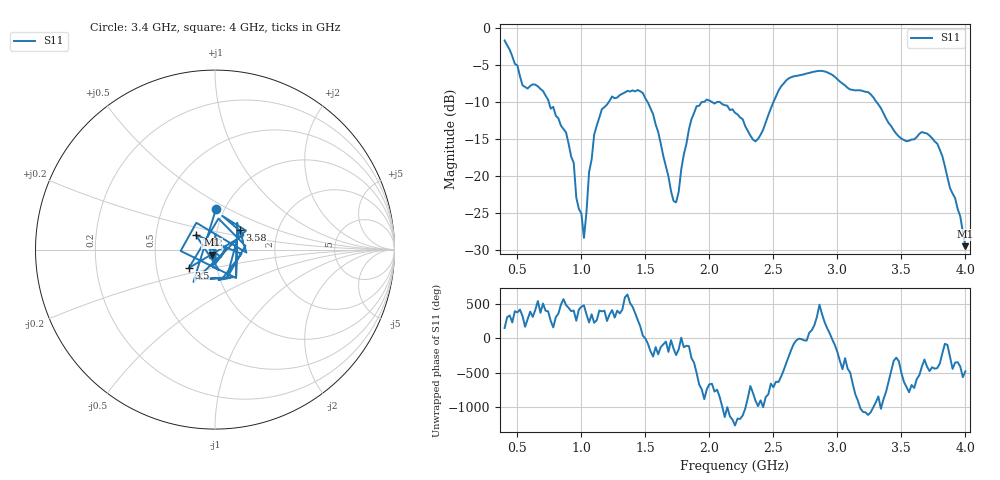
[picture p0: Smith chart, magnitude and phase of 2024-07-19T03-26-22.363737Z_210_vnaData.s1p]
!Created with skrf (http://scikit-rf.org).
# Hz S RI R 50.0
!freq ReS11 ImS11
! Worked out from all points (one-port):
!   181 points, 400 MHz to 4 GHz, reference 50 ohm
!   lowest |S11| = -29.5 dB at 4 GHz (marker M1), VSWR 1.07, Z = 48.2 - j2.75 ohm
!   |S11| at or under -10 dB: 744.2 MHz to 1.216 GHz (471.9 MHz wide, 48.1 % of centre); 2.014 GHz to 2.502 GHz (487.8 MHz wide, 21.6 % of centre); 3.303 GHz to end of sweep (the widest 3 of 4)
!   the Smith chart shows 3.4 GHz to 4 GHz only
!   S11 on the Smith chart (normalised r, x): 3.4 GHz: 0.91, +0.44; 3.5 GHz: 0.73, -0.15; 3.58 GHz: 1.28, +0.29; 3.82 GHz: 0.80, +0.13; 4 GHz: 0.96, -0.05
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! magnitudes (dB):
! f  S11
! 400 MHz  -1.7
! 540 MHz  -7.8
! 700 MHz  -8.6
! 860 MHz  -13.7
! 940 MHz  -18.3
! 960 MHz  -22.9
! 1.02 GHz  -28.4
! 1.06 GHz  -19.5
! 1.1 GHz  -14.4
! 1.16 GHz  -11.0
! 1.3 GHz  -9.1
! 1.48 GHz  -8.8
! 1.6 GHz  -14.1
! 1.72 GHz  -23.4
! 1.76 GHz  -22.2
! 1.84 GHz  -13.7
! 1.9 GHz  -10.6
! 2.2 GHz  -11.5
! 2.36 GHz  -15.4
! 2.66 GHz  -6.6
! 3.1 GHz  -8.4
! 3.4 GHz  -12.9
! 3.5 GHz  -15.0
! 3.56 GHz  -15.3
! 3.58 GHz  -15.1
! 3.7 GHz  -14.3
! 3.82 GHz  -17.4
! 4 GHz  -29.5
